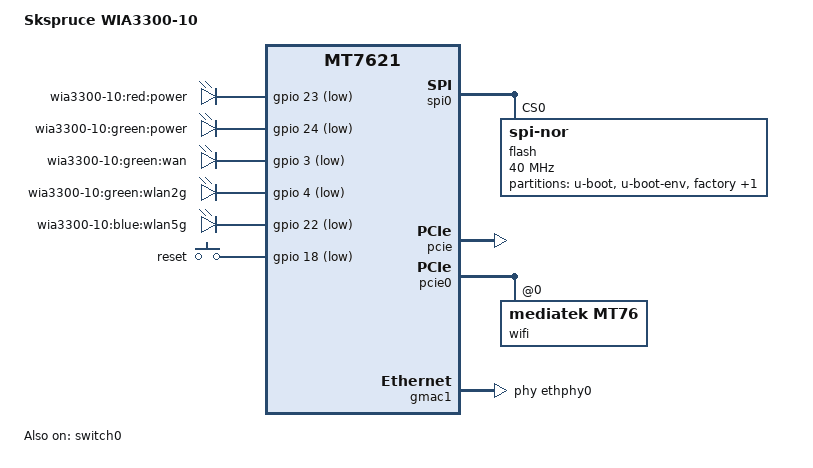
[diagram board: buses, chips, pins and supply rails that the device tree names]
#include "mt7621.dtsi"
#include <dt-bindings/gpio/gpio.h>
#include <dt-bindings/input/input.h>
#include <dt-bindings/leds/common.h>

/ {
	compatible = "skspruce,wia3300-10", "mediatek,mt7621-soc";
	model = "Skspruce WIA3300-10";

	aliases {
		led-boot = &led_power_boot;
		led-failsafe = &led_power_boot;
		led-running = &led_power_sys;
		led-upgrade = &led_power_boot;
	};

	chosen {
		bootargs = "console=ttyS0,115200";
	};

	leds {
		compatible = "gpio-leds";

		led_power_boot: power-red {
			label = "wia3300-10:red:power";
			gpios = <&gpio 23 GPIO_ACTIVE_LOW>;
			default-state = "on";
		};

		led_power_sys: power-green {
			label = "wia3300-10:green:power";
			gpios = <&gpio 24 GPIO_ACTIVE_LOW>;
			default-state = "off";
		};

		wan-green {
			label = "wia3300-10:green:wan";
			gpios = <&gpio 3 GPIO_ACTIVE_LOW>;
		};

		wlan2g-green {
			label = "wia3300-10:green:wlan2g";
			gpios = <&gpio 4 GPIO_ACTIVE_LOW>;
		};

		wlan5g-blue {
			label = "wia3300-10:blue:wlan5g";
			gpios = <&gpio 22 GPIO_ACTIVE_LOW>;
		};
	};

	keys {
		compatible = "gpio-keys";
		reset {
			label = "reset";
			gpios = <&gpio 18 GPIO_ACTIVE_LOW>;
			linux,code = <KEY_RESTART>;
		};
	};
};

&spi0 {
	status = "okay";

	flash@0 {
		compatible = "jedec,spi-nor";
		reg = <0>;
		spi-max-frequency = <40000000>;

		partitions {
			compatible = "fixed-partitions";
			#address-cells = <1>;
			#size-cells = <1>;

			partition@0 {
				label = "u-boot";
				reg = <0x0 0x30000>;
				read-only;
			};

			partition@30000 {
				label = "u-boot-env";
				reg = <0x30000 0x10000>;
				read-only;
			};

			partition@40000 {
				label = "factory";
				reg = <0x40000 0x10000>;
				read-only;

				nvmem-layout {
					compatible = "fixed-layout";
					#address-cells = <1>;
					#size-cells = <1>;

					eeprom_factory_0: eeprom@0 {
						reg = <0x0 0x4da8>;
					};
					macaddr_factory_4: macaddr@4 {
						reg = <0x4 0x6>;
					};

					macaddr_factory_e000: macaddr@e000 {
						reg = <0xe000 0x6>;
					};
					macaddr_factory_e006: macaddr@e006 {
						reg = <0xe006 0x6>;
					};
				};
			};

			partition@50000 {
				compatible = "denx,uimage";
				label = "firmware";
				reg = <0x50000 0x1fb0000>;
			};
		};
	};
};

&pcie {
    status = "okay";
};

&pcie0 {
	wifi@0,0 {
		compatible = "mediatek,mt76";
		reg = <0x0000 0 0 0 0>;

		nvmem-cells = <&eeprom_factory_0>, <&macaddr_factory_4>;
		nvmem-cell-names = "eeprom", "mac-address";
	};
};

&gmac0 {
	nvmem-cells = <&macaddr_factory_e000>;
	nvmem-cell-names = "mac-address";
};

&gmac1 {
	status = "okay";
	label = "wan";
	phy-handle = <&ethphy0>;

	nvmem-cells = <&macaddr_factory_e006>;
	nvmem-cell-names = "mac-address";
};


&ethphy0 {
	/delete-property/ interrupts;
};

&switch0 {
status = "okay";
	mediatek,mcm; 
	ports {
		
		port@1 {
			status = "okay";
			label = "lan1";
		};

		port@2 {
			status = "okay";
			label = "lan2";
		};

		port@3 {
			status = "okay";
			label = "lan3";
		};

		port@4 {
			status = "okay";
			label = "lan4";
		};
	};
};

&state_default {
	gpio {
		groups = "i2c", "jtag";
		function = "gpio";
	};
};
